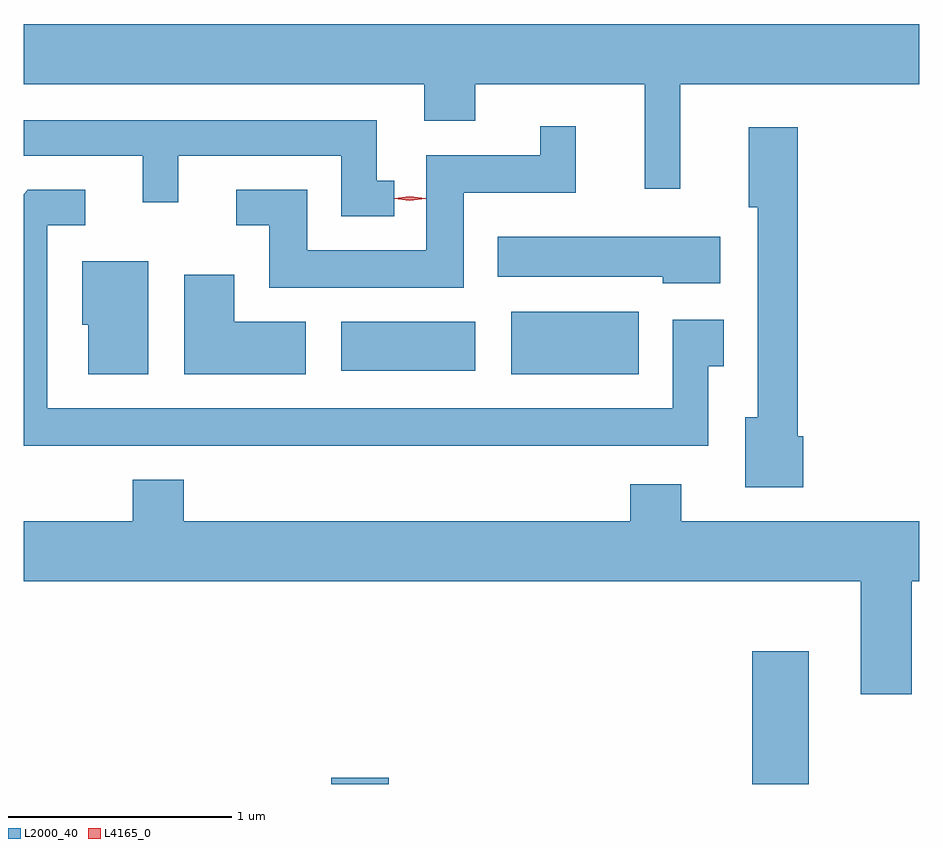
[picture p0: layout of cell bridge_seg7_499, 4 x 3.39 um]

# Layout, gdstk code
import gdstk
lib = gdstk.Library(unit=1e-6, precision=1e-09)
def R(c, l, rs):  # rectangles x0, y0, x1, y1
    for r in rs: c.add(gdstk.rectangle(r[:2], r[2:], *l))
def P(c, l, *ps):  # polygons
    for p in ps: c.add(gdstk.Polygon(p, *l))
L2000_40 = (2000, 40)
L4165_0 = (4165, 0)

bridge_seg7_499 = lib.new_cell('bridge_seg7_499')
R(bridge_seg7_499, L2000_40, [(1341.916,1697.871,1342.174,1697.899), (1343.796,1697.871,1344.049,1698.464), (1342.721,1699.701,1343.289,1699.979), (1341.961,1699.716,1342.559,1699.934)])
P(bridge_seg7_499, L2000_40, [(1343.474,1700.996),(1344.543,1700.996),(1344.543,1701.264),(1340.543,1701.264),(1340.543,1700.996),(1342.331,1700.996),(1342.331,1700.831),(1342.559,1700.831),(1342.559,1700.996),(1343.316,1700.996),(1343.316,1700.528),(1343.474,1700.528)],
  [(1342.198,1700.564),(1342.119,1700.564),(1342.119,1700.834),(1340.543,1700.834),(1340.543,1700.676),(1341.076,1700.676),(1341.076,1700.468),(1341.234,1700.468),(1341.234,1700.676),(1341.961,1700.676),(1341.961,1700.406),(1342.198,1700.406)],
  [(1342.509,1700.511),(1343.009,1700.511),(1343.009,1700.808),(1342.851,1700.808),(1342.851,1700.679),(1342.341,1700.679),(1342.341,1700.254),(1341.809,1700.254),(1341.809,1700.524),(1341.493,1700.524),(1341.493,1700.366),(1341.641,1700.366),(1341.641,1700.086),(1342.509,1700.086)],
  [(1344.024,1699.424),(1343.999,1699.424),(1343.999,1700.804),(1343.781,1700.804),(1343.781,1700.446),(1343.821,1700.446),(1343.821,1699.509),(1343.766,1699.509),(1343.766,1699.196),(1344.024,1699.196)],
  [(1343.599,1699.736),(1343.669,1699.736),(1343.669,1699.944),(1343.441,1699.944),(1343.441,1699.549),(1340.649,1699.549),(1340.649,1700.366),(1340.818,1700.366),(1340.818,1700.524),(1340.562,1700.524),(1340.543,1700.505),(1340.543,1699.381),(1343.599,1699.381)],
  [(1343.654,1700.314),(1342.661,1700.314),(1342.661,1700.136),(1343.396,1700.136),(1343.396,1700.106),(1343.654,1700.106)],
  [(1341.099,1700.204),(1340.806,1700.204),(1340.806,1699.921),(1340.831,1699.921),(1340.831,1699.701),(1341.099,1699.701)],
  [(1341.804,1699.934),(1341.484,1699.934),(1341.484,1700.144),(1341.261,1700.144),(1341.261,1699.701),(1341.804,1699.701)],
  [(1344.509,1698.776),(1344.543,1698.776),(1344.543,1699.044),(1343.479,1699.044),(1343.479,1699.209),(1343.251,1699.209),(1343.251,1699.044),(1341.259,1699.044),(1341.259,1699.229),(1341.031,1699.229),(1341.031,1699.044),(1340.543,1699.044),(1340.543,1698.776),(1344.281,1698.776),(1344.281,1698.271),(1344.509,1698.271)])
P(bridge_seg7_499, L4165_0, [(1342.268,1700.475),(1342.199,1700.484),(1342.199,1700.485),(1342.199,1700.485),(1342.268,1700.495),(1342.338,1700.485),(1342.338,1700.485),(1342.338,1700.484)])

lib.write_gds('bridge_seg7_499.gds')
